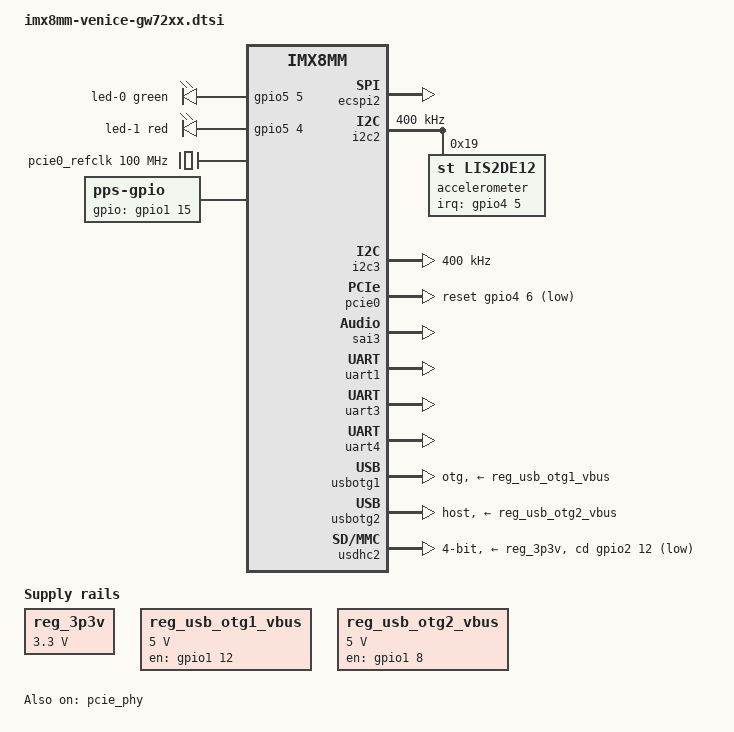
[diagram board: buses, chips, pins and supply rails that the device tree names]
// SPDX-License-Identifier: (GPL-2.0+ OR MIT)
/*
 * Copyright 2020 Gateworks Corporation
 */

#include <dt-bindings/gpio/gpio.h>
#include <dt-bindings/leds/common.h>
#include <dt-bindings/phy/phy-imx8-pcie.h>

/ {
	aliases {
		ethernet1 = &eth1;
		usb0 = &usbotg1;
		usb1 = &usbotg2;
	};

	led-controller {
		compatible = "gpio-leds";
		pinctrl-names = "default";
		pinctrl-0 = <&pinctrl_gpio_leds>;

		led-0 {
			function = LED_FUNCTION_STATUS;
			color = <LED_COLOR_ID_GREEN>;
			gpios = <&gpio5 5 GPIO_ACTIVE_HIGH>;
			default-state = "on";
			linux,default-trigger = "heartbeat";
		};

		led-1 {
			function = LED_FUNCTION_STATUS;
			color = <LED_COLOR_ID_RED>;
			gpios = <&gpio5 4 GPIO_ACTIVE_HIGH>;
			default-state = "off";
		};
	};

	pcie0_refclk: pcie0-refclk {
		compatible = "fixed-clock";
		#clock-cells = <0>;
		clock-frequency = <100000000>;
	};

	pps {
		compatible = "pps-gpio";
		pinctrl-names = "default";
		pinctrl-0 = <&pinctrl_pps>;
		gpios = <&gpio1 15 GPIO_ACTIVE_HIGH>;
		status = "okay";
	};

	reg_3p3v: regulator-3p3v {
		compatible = "regulator-fixed";
		regulator-name = "3P3V";
		regulator-min-microvolt = <3300000>;
		regulator-max-microvolt = <3300000>;
		regulator-always-on;
	};

	reg_usb_otg1_vbus: regulator-usb-otg1 {
		pinctrl-names = "default";
		pinctrl-0 = <&pinctrl_reg_usb1_en>;
		compatible = "regulator-fixed";
		regulator-name = "usb_otg1_vbus";
		gpio = <&gpio1 12 GPIO_ACTIVE_HIGH>;
		enable-active-high;
		regulator-min-microvolt = <5000000>;
		regulator-max-microvolt = <5000000>;
	};

	reg_usb_otg2_vbus: regulator-usb-otg2 {
		pinctrl-names = "default";
		pinctrl-0 = <&pinctrl_reg_usb2_en>;
		compatible = "regulator-fixed";
		regulator-name = "usb_otg2_vbus";
		gpio = <&gpio1 8 GPIO_ACTIVE_HIGH>;
		enable-active-high;
		regulator-min-microvolt = <5000000>;
		regulator-max-microvolt = <5000000>;
	};
};

/* off-board header */
&ecspi2 {
	pinctrl-names = "default";
	pinctrl-0 = <&pinctrl_spi2>;
	cs-gpios = <&gpio5 13 GPIO_ACTIVE_LOW>;
	status = "okay";
};

&gpio1 {
	gpio-line-names = "rs485_term", "mipi_gpio4", "", "",
		"", "", "pci_usb_sel", "dio0",
		"", "dio1", "", "", "", "", "", "",
		"", "", "", "", "", "", "", "",
		"", "", "", "", "", "", "", "";
};

&gpio4 {
	gpio-line-names = "rs485_en", "mipi_gpio3", "rs485_hd", "mipi_gpio2",
		"mipi_gpio1", "", "", "pci_wdis#",
		"", "", "", "", "", "", "", "",
		"", "", "", "", "", "", "", "",
		"", "", "", "", "", "", "", "";
};

&i2c2 {
	clock-frequency = <400000>;
	pinctrl-names = "default";
	pinctrl-0 = <&pinctrl_i2c2>;
	status = "okay";

	accelerometer@19 {
		pinctrl-names = "default";
		pinctrl-0 = <&pinctrl_accel>;
		compatible = "st,lis2de12";
		reg = <0x19>;
		st,drdy-int-pin = <1>;
		interrupt-parent = <&gpio4>;
		interrupts = <5 IRQ_TYPE_LEVEL_LOW>;
		interrupt-names = "INT1";
	};
};

/* off-board header */
&i2c3 {
	clock-frequency = <400000>;
	pinctrl-names = "default";
	pinctrl-0 = <&pinctrl_i2c3>;
	status = "okay";
};

&pcie_phy {
	fsl,refclk-pad-mode = <IMX8_PCIE_REFCLK_PAD_INPUT>;
	fsl,clkreq-unsupported;
	clocks = <&pcie0_refclk>;
	status = "okay";
};

&pcie0 {
	pinctrl-names = "default";
	pinctrl-0 = <&pinctrl_pcie0>;
	reset-gpio = <&gpio4 6 GPIO_ACTIVE_LOW>;
	clocks = <&clk IMX8MM_CLK_PCIE1_ROOT>, <&clk IMX8MM_CLK_PCIE1_AUX>,
		 <&pcie0_refclk>;
	clock-names = "pcie", "pcie_aux", "pcie_bus";
	assigned-clocks = <&clk IMX8MM_CLK_PCIE1_AUX>,
			  <&clk IMX8MM_CLK_PCIE1_CTRL>;
	assigned-clock-rates = <10000000>, <250000000>;
	assigned-clock-parents = <&clk IMX8MM_SYS_PLL2_50M>,
				 <&clk IMX8MM_SYS_PLL2_250M>;
	status = "okay";

	pcie@0,0 {
		reg = <0x0000 0 0 0 0>;
		#address-cells = <1>;
		#size-cells = <0>;

		pcie@1,0 {
			reg = <0x0000 0 0 0 0>;
			#address-cells = <1>;
			#size-cells = <0>;

			pcie@2,3 {
				reg = <0x1800 0 0 0 0>;
				#address-cells = <1>;
				#size-cells = <0>;

				eth1: pcie@5,0 {
					reg = <0x0000 0 0 0 0>;
					#address-cells = <1>;
					#size-cells = <0>;

					local-mac-address = [00 00 00 00 00 00];
				};
			};
		};
	};
};

/* off-board header */
&sai3 {
	pinctrl-names = "default";
	pinctrl-0 = <&pinctrl_sai3>;
	assigned-clocks = <&clk IMX8MM_CLK_SAI3>;
	assigned-clock-parents = <&clk IMX8MM_AUDIO_PLL1_OUT>;
	assigned-clock-rates = <24576000>;
	status = "okay";
};

/* GPS */
&uart1 {
	pinctrl-names = "default";
	pinctrl-0 = <&pinctrl_uart1>;
	status = "okay";
};

/* off-board header */
&uart3 {
	pinctrl-names = "default";
	pinctrl-0 = <&pinctrl_uart3>;
	status = "okay";
};

/* RS232 */
&uart4 {
	pinctrl-names = "default";
	pinctrl-0 = <&pinctrl_uart4>;
	status = "okay";
};

&usbotg1 {
	dr_mode = "otg";
	over-current-active-low;
	vbus-supply = <&reg_usb_otg1_vbus>;
	status = "okay";
};

&usbotg2 {
	dr_mode = "host";
	disable-over-current;
	vbus-supply = <&reg_usb_otg2_vbus>;
	status = "okay";
};

/* microSD */
&usdhc2 {
	pinctrl-names = "default", "state_100mhz", "state_200mhz";
	pinctrl-0 = <&pinctrl_usdhc2>, <&pinctrl_usdhc2_gpio>;
	pinctrl-1 = <&pinctrl_usdhc2_100mhz>, <&pinctrl_usdhc2_gpio>;
	pinctrl-2 = <&pinctrl_usdhc2_200mhz>, <&pinctrl_usdhc2_gpio>;
	cd-gpios = <&gpio2 12 GPIO_ACTIVE_LOW>;
	bus-width = <4>;
	vmmc-supply = <&reg_3p3v>;
	status = "okay";
};

&iomuxc {
	pinctrl-names = "default";
	pinctrl-0 = <&pinctrl_hog>;

	pinctrl_hog: hoggrp {
		fsl,pins = <
			MX8MM_IOMUXC_SPDIF_TX_GPIO5_IO3		0x40000041 /* PLUG_TEST */
			MX8MM_IOMUXC_GPIO1_IO06_GPIO1_IO6	0x40000041 /* PCI_USBSEL */
			MX8MM_IOMUXC_SAI1_RXD5_GPIO4_IO7	0x40000041 /* PCIE_WDIS# */
			MX8MM_IOMUXC_GPIO1_IO07_GPIO1_IO7	0x40000041 /* DIO0 */
			MX8MM_IOMUXC_GPIO1_IO09_GPIO1_IO9	0x40000041 /* DIO1 */
			MX8MM_IOMUXC_GPIO1_IO00_GPIO1_IO0	0x40000104 /* RS485_TERM */
			MX8MM_IOMUXC_SAI1_RXFS_GPIO4_IO0	0x40000104 /* RS485 */
			MX8MM_IOMUXC_SAI1_RXD0_GPIO4_IO2	0x40000104 /* RS485_HALF */
		>;
	};

	pinctrl_accel: accelgrp {
		fsl,pins = <
			MX8MM_IOMUXC_SAI1_RXD3_GPIO4_IO5	0x159
		>;
	};

	pinctrl_gpio_leds: gpioledgrp {
		fsl,pins = <
			MX8MM_IOMUXC_SPDIF_EXT_CLK_GPIO5_IO5	0x19
			MX8MM_IOMUXC_SPDIF_RX_GPIO5_IO4		0x19
		>;
	};

	pinctrl_i2c3: i2c3grp {
		fsl,pins = <
			MX8MM_IOMUXC_I2C3_SCL_I2C3_SCL		0x400001c3
			MX8MM_IOMUXC_I2C3_SDA_I2C3_SDA		0x400001c3
		>;
	};

	pinctrl_pcie0: pcie0grp {
		fsl,pins = <
			MX8MM_IOMUXC_SAI1_RXD4_GPIO4_IO6	0x41
		>;
	};

	pinctrl_pps: ppsgrp {
		fsl,pins = <
			MX8MM_IOMUXC_GPIO1_IO15_GPIO1_IO15	0x41
		>;
	};

	pinctrl_reg_usb1_en: regusb1grp {
		fsl,pins = <
			MX8MM_IOMUXC_GPIO1_IO12_GPIO1_IO12	0x41
			MX8MM_IOMUXC_GPIO1_IO13_USB1_OTG_OC	0x41
		>;
	};

	pinctrl_reg_usb2_en: regusb2grp {
		fsl,pins = <
			MX8MM_IOMUXC_GPIO1_IO08_GPIO1_IO8	0x41
		>;
	};

	pinctrl_sai3: sai3grp {
		fsl,pins = <
			MX8MM_IOMUXC_SAI3_TXFS_SAI3_TX_SYNC     0xd6
			MX8MM_IOMUXC_SAI3_TXC_SAI3_TX_BCLK      0xd6
			MX8MM_IOMUXC_SAI3_MCLK_SAI3_MCLK        0xd6
			MX8MM_IOMUXC_SAI3_TXD_SAI3_TX_DATA0     0xd6
			MX8MM_IOMUXC_SAI3_RXD_SAI3_RX_DATA0	0xd6
		>;
	};

	pinctrl_spi2: spi2grp {
		fsl,pins = <
			MX8MM_IOMUXC_ECSPI2_SCLK_ECSPI2_SCLK	0xd6
			MX8MM_IOMUXC_ECSPI2_MOSI_ECSPI2_MOSI	0xd6
			MX8MM_IOMUXC_ECSPI2_MISO_ECSPI2_MISO	0xd6
			MX8MM_IOMUXC_ECSPI2_SS0_GPIO5_IO13	0xd6
		>;
	};

	pinctrl_uart1: uart1grp {
		fsl,pins = <
			MX8MM_IOMUXC_UART1_RXD_UART1_DCE_RX	0x140
			MX8MM_IOMUXC_UART1_TXD_UART1_DCE_TX	0x140
		>;
	};

	pinctrl_uart3: uart3grp {
		fsl,pins = <
			MX8MM_IOMUXC_UART3_RXD_UART3_DCE_RX	0x140
			MX8MM_IOMUXC_UART3_TXD_UART3_DCE_TX	0x140
		>;
	};

	pinctrl_uart4: uart4grp {
		fsl,pins = <
			MX8MM_IOMUXC_UART4_RXD_UART4_DCE_RX	0x140
			MX8MM_IOMUXC_UART4_TXD_UART4_DCE_TX	0x140
		>;
	};

	pinctrl_usdhc1: usdhc1grp {
		fsl,pins = <
			MX8MM_IOMUXC_SD1_CLK_USDHC1_CLK		0x190
			MX8MM_IOMUXC_SD1_CMD_USDHC1_CMD		0x1d0
			MX8MM_IOMUXC_SD1_DATA0_USDHC1_DATA0	0x1d0
			MX8MM_IOMUXC_SD1_DATA1_USDHC1_DATA1	0x1d0
			MX8MM_IOMUXC_SD1_DATA2_USDHC1_DATA2	0x1d0
			MX8MM_IOMUXC_SD1_DATA3_USDHC1_DATA3	0x1d0
		>;
	};

	pinctrl_usdhc2: usdhc2grp {
		fsl,pins = <
			MX8MM_IOMUXC_SD2_CLK_USDHC2_CLK		0x190
			MX8MM_IOMUXC_SD2_CMD_USDHC2_CMD		0x1d0
			MX8MM_IOMUXC_SD2_DATA0_USDHC2_DATA0	0x1d0
			MX8MM_IOMUXC_SD2_DATA1_USDHC2_DATA1	0x1d0
			MX8MM_IOMUXC_SD2_DATA2_USDHC2_DATA2	0x1d0
			MX8MM_IOMUXC_SD2_DATA3_USDHC2_DATA3	0x1d0
		>;
	};

	pinctrl_usdhc2_100mhz: usdhc2-100mhzgrp {
		fsl,pins = <
			MX8MM_IOMUXC_SD2_CLK_USDHC2_CLK		0x194
			MX8MM_IOMUXC_SD2_CMD_USDHC2_CMD		0x1d4
			MX8MM_IOMUXC_SD2_DATA0_USDHC2_DATA0	0x1d4
			MX8MM_IOMUXC_SD2_DATA1_USDHC2_DATA1	0x1d4
			MX8MM_IOMUXC_SD2_DATA2_USDHC2_DATA2	0x1d4
			MX8MM_IOMUXC_SD2_DATA3_USDHC2_DATA3	0x1d4
		>;
	};

	pinctrl_usdhc2_200mhz: usdhc2-200mhzgrp {
		fsl,pins = <
			MX8MM_IOMUXC_SD2_CLK_USDHC2_CLK		0x196
			MX8MM_IOMUXC_SD2_CMD_USDHC2_CMD		0x1d6
			MX8MM_IOMUXC_SD2_DATA0_USDHC2_DATA0	0x1d6
			MX8MM_IOMUXC_SD2_DATA1_USDHC2_DATA1	0x1d6
			MX8MM_IOMUXC_SD2_DATA2_USDHC2_DATA2	0x1d6
			MX8MM_IOMUXC_SD2_DATA3_USDHC2_DATA3	0x1d6
		>;
	};

	pinctrl_usdhc2_gpio: usdhc2gpiogrp {
		fsl,pins = <
			MX8MM_IOMUXC_SD2_CD_B_GPIO2_IO12	0x1c4
			MX8MM_IOMUXC_SD2_RESET_B_USDHC2_RESET_B	0x1d0
			MX8MM_IOMUXC_GPIO1_IO04_USDHC2_VSELECT	0x1d0
		>;
	};
};
